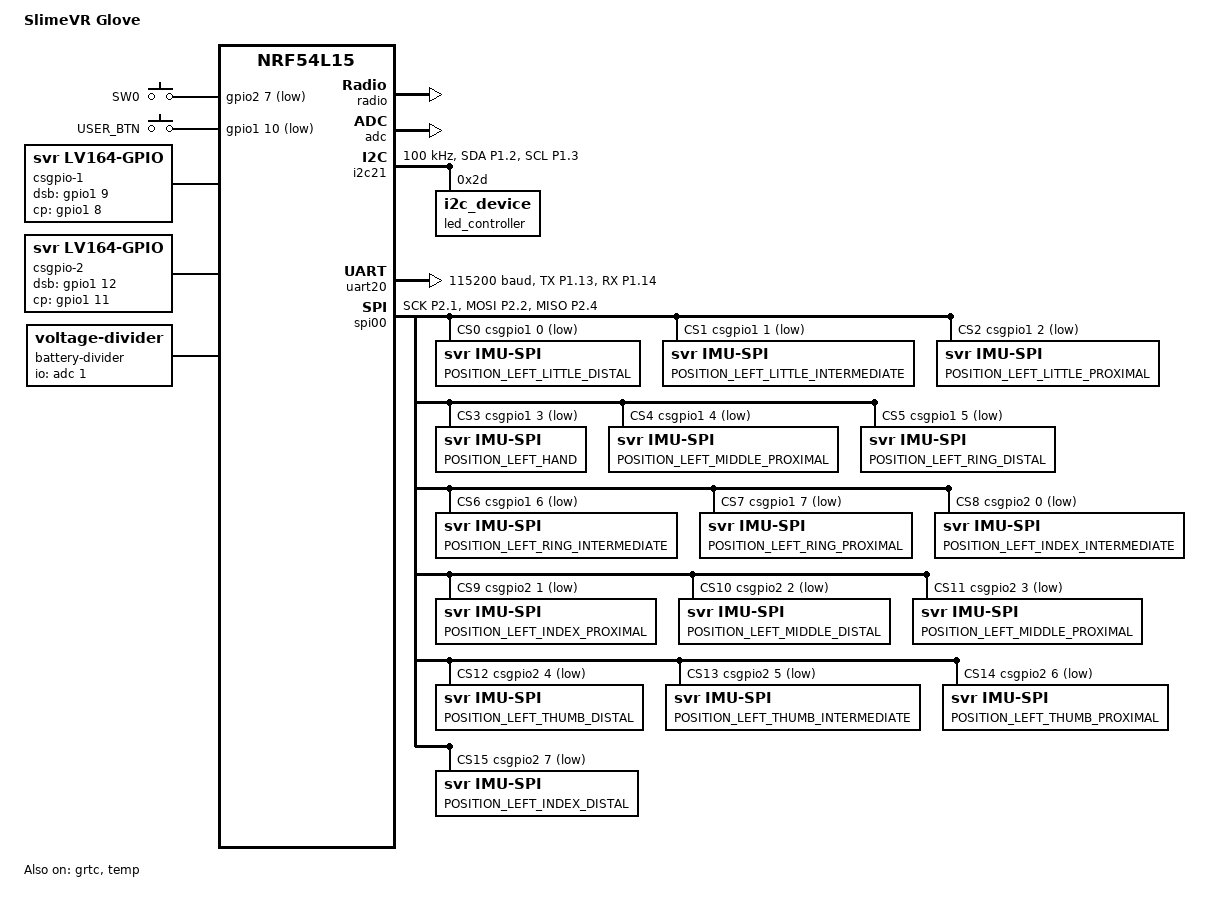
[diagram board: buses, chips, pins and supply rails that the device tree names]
/dts-v1/;
#include <nordic/nrf54l15_cpuapp.dtsi>
#include "slimevrglove_left-pinctrl.dtsi"

#ifndef IMU_SPI_FREQ_MHZ
#define IMU_SPI_FREQ_MHZ 4
#endif

&pinctrl {
	/omit-if-no-ref/ spi00_default: spi00_default {
		group1 {
			psels = <NRF_PSEL(SPIM_SCK, 2, 1)>,
				<NRF_PSEL(SPIM_MOSI, 2, 2)>;
			nordic,drive-mode = <NRF_DRIVE_E0E1>;
		};

		group2 {
			psels = <NRF_PSEL(SPIM_MISO, 2, 4)>;
			bias-pull-up;
		};
	};

	/omit-if-no-ref/ spi00_sleep: spi00_sleep {
		group1 {
			psels = <NRF_PSEL(SPIM_SCK, 2, 1)>,
				<NRF_PSEL(SPIM_MOSI, 2, 2)>,
				<NRF_PSEL(SPIM_MISO, 2, 4)>;
			low-power-enable;
		};
	};

	/omit-if-no-ref/ uart20_default: uart20_default {
		group1 {
			psels = <NRF_PSEL(UART_TX, 1, 13)>;
		};

		group2 {
			psels = <NRF_PSEL(UART_RX, 1, 14)>;
			bias-pull-up;
		};
	};

	/omit-if-no-ref/ uart20_sleep: uart20_sleep {
		group1 {
			psels = <NRF_PSEL(UART_TX, 1, 13)>,
				<NRF_PSEL(UART_RX, 1, 14)>;
			low-power-enable;
		};
	};

	i2c21_default: i2c21_default {
		group1 {
			psels = <NRF_PSEL(TWIM_SDA, 1, 2)>,
				<NRF_PSEL(TWIM_SCL, 1, 3)>;
			bias-pull-up;
		};
	};

	i2c21_sleep: i2c21_sleep {
		group1 {
			psels = <NRF_PSEL(TWIM_SDA, 1, 2)>,
				<NRF_PSEL(TWIM_SCL, 1, 3)>;
			low-power-enable;
		};
	};
};

/ {
	model = "SlimeVR Glove";
	compatible = "nighty-electronics,slimevrglove-cpuapp";

	buttons {
		compatible = "gpio-keys";

		button0: button_0 {
			gpios = <&gpio2 7 (GPIO_PULL_UP | GPIO_ACTIVE_LOW)>;
			label = "SW0";
		};

		button1: button_1 {
			gpios = <&gpio1 10 (GPIO_PULL_UP | GPIO_ACTIVE_LOW)>;
			label = "USER_BTN";
		};
	};

	csgpio1: csgpio_1 {
		compatible = "svr,lv164-gpio";
		label = "csgpio-1";
		gpio-controller;
		#gpio-cells = <2>;
		dsb-gpios = <&gpio1 9 (GPIO_PULL_DOWN | GPIO_ACTIVE_HIGH)>;
		cp-gpios = <&gpio1 8 (GPIO_PULL_DOWN | GPIO_ACTIVE_HIGH)>;
		num-outputs = <8>;
	};

	csgpio2: csgpio_2 {
		compatible = "svr,lv164-gpio";
		label = "csgpio-2";
		gpio-controller;
		#gpio-cells = <2>;
		dsb-gpios = <&gpio1 12 (GPIO_PULL_DOWN | GPIO_ACTIVE_HIGH)>;
		cp-gpios = <&gpio1 11 (GPIO_PULL_DOWN | GPIO_ACTIVE_HIGH)>;
		num-outputs = <8>;
	};

	zephyr,user {
		//int0-gpios = <&gpio0 2 0>;
		multiple-imus = <1>;
	};

	battery-divider {
		compatible = "voltage-divider";
		status = "okay";
		io-channels = <&adc 1>; // Measure VDDHDIV5
		output-ohms = <1>;
		full-ohms = <2>;
	};

	aliases {
		sw0 = &button0;
		sw1 = &button1;
	};

	chosen {
		zephyr,code-partition = &slot0_partition;
		zephyr,sram = &cpuapp_sram;
		zephyr,flash = &cpuapp_rram;
		zephyr,flash-controller = &rram_controller;
		zephyr,console = &uart20;
		zephyr,shell-uart = &uart20;
		zephyr,uart-mcumgr = &uart20;
		zephyr,bt-mon-uart = &uart20;
		zephyr,bt-c2h-uart = &uart20;
	};
};

&radio {
	status = "okay";
};

&grtc {
	owned-channels = <0 1 2 3 4 5 6 7 8 9 10 11>;
	/* Channels 7-11 reserved for Zero Latency IRQs, 3-4 for FLPR */
	child-owned-channels = <3 4 7 8 9 10 11>;
	status = "okay";
};

&adc {
	status = "okay";
};

&clock {
	status = "okay";
};

&temp {
	status = "okay";
};

&cpuapp_sram {
	status = "okay";
};

&i2c21 {
	status = "okay";
	pinctrl-0 = <&i2c21_default>;
	pinctrl-1 = <&i2c21_sleep>;
	pinctrl-names = "default", "sleep";
	clock-frequency = <I2C_BITRATE_STANDARD>;

	led_controller: led_controller@2d {
		compatible = "i2c_device";
		reg = <0x2d>;
		label = "led_controller";
	};
};

// &hfxo {
// 	status = "okay";
// 	clock-frequency = <DT_FREQ_M(32)>;
// 	load-capacitors = "internal";
// 	load-capacitance-femtofarad = <15000>;
// };

// &regulators {
// 	status = "okay";
// };

// &vregmain {
// 	status = "okay";
// 	regulator-initial-mode = <NRF5X_REG_MODE_DCDC>;
// };

&uicr {
	nfct-pins-as-gpios;
};

&nfct {
	status = "disabled";
};

&gpio0 {
	status = "okay";
};

&gpio1 {
	status = "okay";
};

&gpio2 {
	status = "okay";
};

&gpiote20 {
	status = "okay";
};

&gpiote30 {
	status = "okay";
};

&radio {
	status = "okay";
};

&uart20 {
	status = "okay";
	pinctrl-0 = <&uart20_default>;
	pinctrl-1 = <&uart20_sleep>;
	pinctrl-names = "default", "sleep";
	current-speed = <115200>;
};

&uart21 {
	status = "disabled";
};

&spi00 {

	status = "okay";
	compatible = "nordic,nrf-spim";
	pinctrl-0 = <&spi00_default>;
	pinctrl-1 = <&spi00_sleep>;
	pinctrl-names = "default", "sleep";

	cs-gpios = <&csgpio1 0 GPIO_ACTIVE_LOW>,
		   <&csgpio1 1 GPIO_ACTIVE_LOW>,
		   <&csgpio1 2 GPIO_ACTIVE_LOW>,
		   <&csgpio1 3 GPIO_ACTIVE_LOW>,
		   <&csgpio1 4 GPIO_ACTIVE_LOW>,
		   <&csgpio1 5 GPIO_ACTIVE_LOW>,
		   <&csgpio1 6 GPIO_ACTIVE_LOW>,
		   <&csgpio1 7 GPIO_ACTIVE_LOW>,
		   <&csgpio2 0 GPIO_ACTIVE_LOW>,
		   <&csgpio2 1 GPIO_ACTIVE_LOW>,
		   <&csgpio2 2 GPIO_ACTIVE_LOW>,
		   <&csgpio2 3 GPIO_ACTIVE_LOW>,
		   <&csgpio2 4 GPIO_ACTIVE_LOW>,
		   <&csgpio2 5 GPIO_ACTIVE_LOW>,
		   <&csgpio2 6 GPIO_ACTIVE_LOW>,
		   <&csgpio2 7 GPIO_ACTIVE_LOW>;

	// See sensor_position.h for mappings of sensor-position

	imu_spi_0: pinky_3@0 {
		status = "okay";
		compatible = "svr,imu-spi";
		label = "POSITION_LEFT_LITTLE_DISTAL";
		sensor-position = <35>;
		reg = <0x00>;
		spi-max-frequency = <DT_FREQ_M(IMU_SPI_FREQ_MHZ)>;
	};

	imu_spi_1: pinky_2@1 {
		status = "okay";
		compatible = "svr,imu-spi";
		label = "POSITION_LEFT_LITTLE_INTERMEDIATE";
		sensor-position = <34>;
		reg = <0x01>;
		spi-max-frequency = <DT_FREQ_M(IMU_SPI_FREQ_MHZ)>;
	};

	imu_spi_2: pinky_1@2 {
		status = "okay";
		compatible = "svr,imu-spi";
		label = "POSITION_LEFT_LITTLE_PROXIMAL";
		sensor-position = <33>;
		reg = <0x02>;
		spi-max-frequency = <DT_FREQ_M(IMU_SPI_FREQ_MHZ)>;
	};

	imu_spi_3: imu_spi_3@3 {
		status = "okay";
		compatible = "svr,imu-spi";
		label = "POSITION_LEFT_HAND";
		sensor-position = <18>;
		reg = <0x03>;
		spi-max-frequency = <DT_FREQ_M(IMU_SPI_FREQ_MHZ)>;
	};

	imu_spi_4: imu_spi_4@4 {
		status = "okay";
		compatible = "svr,imu-spi";
		label = "POSITION_LEFT_MIDDLE_PROXIMAL";
		sensor-position = <27>;
		reg = <0x04>;
		spi-max-frequency = <DT_FREQ_M(IMU_SPI_FREQ_MHZ)>;
	};

	imu_spi_5: imu_spi_5@5 {
		status = "okay";
		compatible = "svr,imu-spi";
		label = "POSITION_LEFT_RING_DISTAL";
		sensor-position = <32>;
		reg = <0x05>;
		spi-max-frequency = <DT_FREQ_M(IMU_SPI_FREQ_MHZ)>;
	};

	imu_spi_6: imu_spi_6@6 {
		status = "okay";
		compatible = "svr,imu-spi";
		label = "POSITION_LEFT_RING_INTERMEDIATE";
		sensor-position = <31>;
		reg = <0x06>;
		spi-max-frequency = <DT_FREQ_M(IMU_SPI_FREQ_MHZ)>;
	};

	imu_spi_7: imu_spi_7@7 {
		status = "okay";
		compatible = "svr,imu-spi";
		label = "POSITION_LEFT_RING_PROXIMAL";
		sensor-position = <30>;
		reg = <0x07>;
		spi-max-frequency = <DT_FREQ_M(IMU_SPI_FREQ_MHZ)>;
	};

	imu_spi_8: imu_spi_8@8 {
		status = "okay";
		compatible = "svr,imu-spi";
		label = "POSITION_LEFT_INDEX_INTERMEDIATE";
		sensor-position = <25>;
		reg = <0x08>;
		spi-max-frequency = <DT_FREQ_M(IMU_SPI_FREQ_MHZ)>;
	};

	imu_spi_9: imu_spi_9@9 {
		status = "okay";
		compatible = "svr,imu-spi";
		label = "POSITION_LEFT_INDEX_PROXIMAL";
		sensor-position = <24>;
		reg = <9>;
		spi-max-frequency = <DT_FREQ_M(IMU_SPI_FREQ_MHZ)>;
	};

	imu_spi_10: imu_spi_10@a {
		status = "okay";
		compatible = "svr,imu-spi";
		label = "POSITION_LEFT_MIDDLE_DISTAL";
		sensor-position = <29>;
		reg = <0x0a>;
		spi-max-frequency = <DT_FREQ_M(IMU_SPI_FREQ_MHZ)>;
	};

	imu_spi_11: imu_spi_11@b {
		status = "okay";
		compatible = "svr,imu-spi";
		label = "POSITION_LEFT_MIDDLE_PROXIMAL";
		sensor-position = <27>;
		reg = <0x0b>;
		spi-max-frequency = <DT_FREQ_M(IMU_SPI_FREQ_MHZ)>;
	};

	imu_spi_12: imu_spi_12@c {
		status = "okay";
		compatible = "svr,imu-spi";
		label = "POSITION_LEFT_THUMB_DISTAL";
		sensor-position = <23>;
		reg = <0x0c>;
		spi-max-frequency = <DT_FREQ_M(IMU_SPI_FREQ_MHZ)>;
	};

	imu_spi_13: imu_spi_13@d {
		status = "okay";
		compatible = "svr,imu-spi";
		label = "POSITION_LEFT_THUMB_INTERMEDIATE";
		sensor-position = <22>;
		reg = <0x0d>;
		spi-max-frequency = <DT_FREQ_M(IMU_SPI_FREQ_MHZ)>;
	};

	imu_spi_14: imu_spi_14@e {
		status = "okay";
		compatible = "svr,imu-spi";
		label = "POSITION_LEFT_THUMB_PROXIMAL";
		sensor-position = <21>;
		reg = <0x0e>;
		spi-max-frequency = <DT_FREQ_M(IMU_SPI_FREQ_MHZ)>;
	};

	imu_spi_15: imu_spi_15@f {
		status = "okay";
		compatible = "svr,imu-spi";
		label = "POSITION_LEFT_INDEX_DISTAL";
		sensor-position = <26>;
		reg = <0x0f>;
		spi-max-frequency = <DT_FREQ_M(IMU_SPI_FREQ_MHZ)>;
	};
};
#include <nordic/nrf54l15_partition.dtsi>
